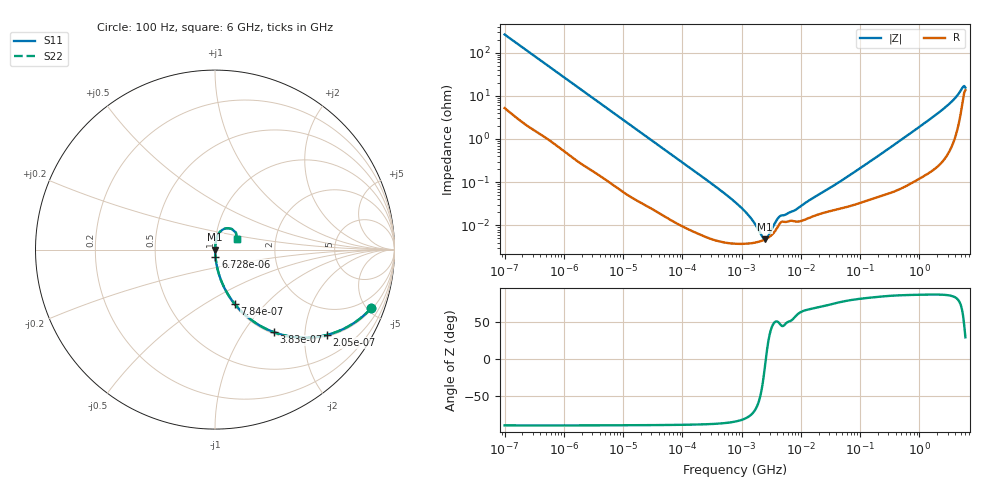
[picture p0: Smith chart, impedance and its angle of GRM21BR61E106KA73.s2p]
!Murata Part Number: GRM21BR61E106KA73
!These Parameters are Measured in Series Mode Connection
!Data Generated on Mar 30, 2021
!  o--ll--o
!Port1  Port2
!  o------o
!Operation Temp=25[degC], DC Bias Voltage=0[V]
!Freq. Start=100[Hz] Stop=6[GHz] 401[Steps]
# Hz S RI R 50
!Freq.(Hz) S11(Real) S11(Imag) S21(Real) S21(Imag) S12(Real) S12(Imag) S22(Real) S22(Imag)
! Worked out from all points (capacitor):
!   401 points, 100 Hz to 6 GHz, reference 50 ohm
!   read as one part in series: C = 6.02 uF near 109 Hz
!   lowest |Z| = 4.77 mohm at 2.481 MHz (marker M1)
!   series resonance near 2.567 MHz, so ESL is about 640 pH
!   S11 on the Smith chart (normalised r, x): 100 Hz: 1.10, -5.26; 205 Hz: 1.05, -2.59; 383 Hz: 1.03, -1.39; 784 Hz: 1.01, -0.69; 6.728 kHz: 1.00, -0.08; 6 GHz: 1.27, +0.15
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100  0.8689 -0.3278  0.1311 0.3278  0.1311 0.3278  0.8689 -0.3278
137  0.7841 -0.4021  0.2159 0.4021  0.2159 0.4021  0.7841 -0.4021
205  0.6245 -0.4752  0.3755 0.4752  0.3755 0.4752  0.6245 -0.4752
383  0.33 -0.4607  0.67 0.4607  0.67 0.4607  0.33 -0.4607
784  0.1104 -0.3038  0.8896 0.3038  0.8896 0.3038  0.1104 -0.3038
2008  0.0205 -0.1326  0.9795 0.1326  0.9795 0.1326  0.0205 -0.1326
6728  0.00255 -0.041  0.9975 0.041  0.9975 0.041  0.00255 -0.041
40335  0.000242 -0.00703  0.9998 0.00703  0.9998 0.00703  0.000242 -0.00703
774597  3.76e-05 -0.000346  1 0.000346  1 0.000346  3.76e-05 -0.000346
1159002  3.75e-05 -0.000203  1 0.000203  1 0.000203  3.75e-05 -0.000203
1734173  4.01e-05 -9.31e-05  1 9.31e-05  1 9.31e-05  4.01e-05 -9.31e-05
2481164  4.7e-05 -7.9e-06  1 7.9e-06  1 7.9e-06  4.7e-05 -7.9e-06
3394479  6.41e-05 6.76e-05  0.9999 -6.76e-05  0.9999 -6.76e-05  6.41e-05 6.76e-05
4440638  0.000111 0.00012  0.9999 -0.00012  0.9999 -0.00012  0.000111 0.00012
7947587  0.000123 0.000187  0.9999 -0.000187  0.9999 -0.000187  0.000123 0.000187
1.555665e7  0.000159 0.000387  0.9998 -0.000387  0.9998 -0.000387  0.000159 0.000387
4.983056e7  0.00025 0.00108  0.9998 -0.00108  0.9998 -0.00108  0.00025 0.00108
3.124326e8  0.000588 0.0061  0.9994 -0.0061  0.9994 -0.0061  0.000588 0.0061
1.712697e9  0.00295 0.0324  0.9971 -0.0324  0.9971 -0.0324  0.00295 0.0324
3.505958e9  0.0117 0.0713  0.9883 -0.0713  0.9883 -0.0713  0.0117 0.0713
5.245841e9  0.07 0.1195  0.93 -0.1195  0.93 -0.1195  0.07 0.1195
6e9  0.1228 0.0584  0.8772 -0.0584  0.8772 -0.0584  0.1228 0.0584
